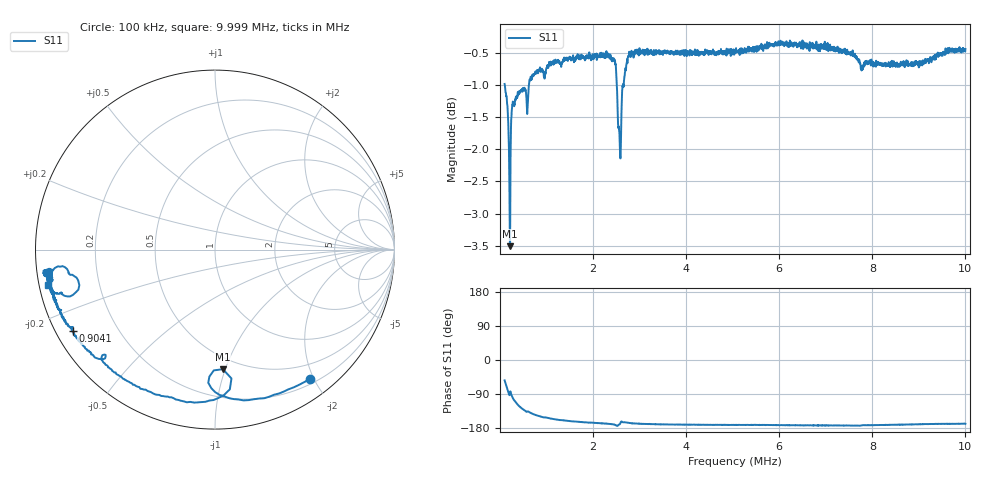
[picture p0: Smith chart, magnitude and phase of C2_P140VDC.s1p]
# HZ S RI R 50
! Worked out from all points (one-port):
!   2020 points, 100 kHz to 9.999 MHz, reference 50 ohm
!   lowest |S11| = -3.5 dB at 217.7 kHz (marker M1), VSWR 5.02, Z = 20.4 - j49.1 ohm
!   |S11| at or under -10 dB: nowhere
!   S11 on the Smith chart (normalised r, x): 100 kHz: 0.27, -1.94; 904.1 kHz: 0.05, -0.27; 9.999 MHz: 0.03, -0.10
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100000  0.5277 -0.7198
144127  0.2745 -0.8281
168642  0.1309 -0.8351
217672  0.0439 -0.6664
266702  -0.1161 -0.8523
296120  -0.2191 -0.8348
379471  -0.406 -0.7765
472628  -0.5461 -0.6956
551076  -0.6239 -0.626
707972  -0.7163 -0.5545
904092  -0.7935 -0.4543
1340459  -0.8652 -0.3376
1708184  -0.897 -0.2721
2419119  -0.918 -0.1686
2473052  -0.9187 -0.1432
2522082  -0.8619 -0.0952
2541694  -0.8183 -0.1193
2576015  -0.7831 -0.1487
2649560  -0.8587 -0.2394
2811359  -0.9166 -0.2177
3154569  -0.9255 -0.1828
3816474  -0.934 -0.1582
5052030  -0.935 -0.1431
6287586  -0.9497 -0.1263
7528045  -0.9377 -0.1175
7792807  -0.9093 -0.1271
8763601  -0.9087 -0.1564
9999157  -0.9298 -0.1955
